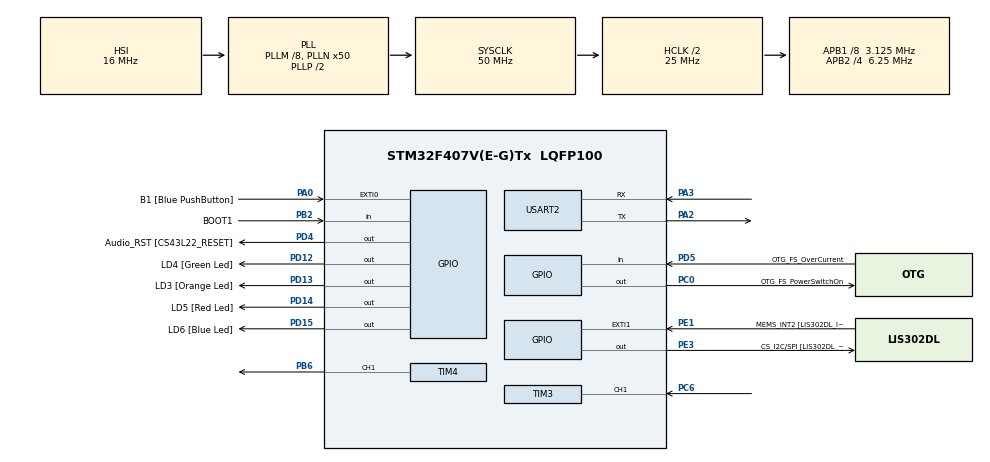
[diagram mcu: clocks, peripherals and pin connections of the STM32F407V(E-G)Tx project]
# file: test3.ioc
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Mcu.Family=STM32F4
Mcu.Name=STM32F407V(E-G)Tx
Mcu.Package=LQFP100
NVIC.PriorityGroup=NVIC_PRIORITYGROUP_0
NVIC.TIM3_IRQn=true\:0\:0\:false\:false\:true\:true
PA0-WKUP.GPIO_Label=B1 [Blue PushButton]
PA0-WKUP.GPIO_ModeDefaultEXTI=GPIO_MODE_EVT_RISING
PA0-WKUP.GPIO_PuPd=GPIO_NOPULL
PA0-WKUP.Signal=GPXTI0
PA10.GPIO_Label=OTG_FS_ID
PA10.GPIO_Mode=GPIO_MODE_AF_PP
PA10.GPIO_PuPd=GPIO_NOPULL
PA10.GPIO_Speed=GPIO_SPEED_FREQ_LOW
PA10.Signal=USB_OTG_FS_ID
PA11.GPIO_Label=OTG_FS_DM
PA11.GPIO_Mode=GPIO_MODE_AF_PP
PA11.GPIO_PuPd=GPIO_NOPULL
PA11.GPIO_Speed=GPIO_SPEED_FREQ_LOW
PA11.Signal=USB_OTG_FS_DM
PA12.GPIO_Label=OTG_FS_DP
PA12.GPIO_Mode=GPIO_MODE_AF_PP
PA12.GPIO_PuPd=GPIO_NOPULL
PA12.GPIO_Speed=GPIO_SPEED_FREQ_LOW
PA12.Signal=USB_OTG_FS_DP
PA13.GPIO_Label=SWDIO
PA13.Signal=SYS_JTMS-SWDIO
PA14.GPIO_Label=SWCLK
PA14.Signal=SYS_JTCK-SWCLK
PA2.Mode=Asynchronous
PA2.Signal=USART2_TX
PA3.Mode=Asynchronous
PA3.Signal=USART2_RX
PA4.GPIO_Label=I2S3_WS [CS43L22_LRCK]
PA4.GPIO_Mode=GPIO_MODE_AF_PP
PA4.GPIO_PuPd=GPIO_NOPULL
PA4.GPIO_Speed=GPIO_SPEED_FREQ_LOW
PA4.Signal=I2S3_WS
PA5.GPIO_Label=SPI1_SCK [LIS302DL_SCL/SPC]
PA5.GPIO_Mode=GPIO_MODE_AF_PP
PA5.GPIO_PuPd=GPIO_NOPULL
PA5.GPIO_Speed=GPIO_SPEED_FREQ_LOW
PA5.Signal=SPI1_SCK
PA6.GPIO_Label=SPI1_MISO [LIS302DL_SDO]
PA6.GPIO_Mode=GPIO_MODE_AF_PP
PA6.GPIO_PuPd=GPIO_NOPULL
PA6.GPIO_Speed=GPIO_SPEED_FREQ_LOW
PA6.Signal=SPI1_MISO
PA9.GPIO_Label=VBUS_FS
PA9.GPIO_Mode=GPIO_MODE_INPUT
PA9.GPIO_PuPd=GPIO_NOPULL
PA9.Signal=USB_OTG_FS_VBUS
PB10.GPIO_Label=CLK_IN [MP45DT02_CLK]
PB10.GPIO_Mode=GPIO_MODE_AF_PP
PB10.GPIO_PuPd=GPIO_NOPULL
PB10.GPIO_Speed=GPIO_SPEED_FREQ_LOW
PB10.Signal=I2S2_CK
PB2.GPIO_Label=BOOT1
PB2.GPIO_Mode=GPIO_MODE_INPUT
PB2.GPIO_PuPd=GPIO_NOPULL
PB2.Signal=GPIO_Input
PB3.GPIO_Label=SWO
PB3.Signal=SYS_JTDO-SWO
PB6.Signal=S_TIM4_CH1
PB9.GPIO_Label=Audio_SDA [CS43L22_SDA]
PB9.GPIO_Mode=GPIO_MODE_AF_OD
PB9.GPIO_PuPd=GPIO_NOPULL
PB9.GPIO_Speed=GPIO_SPEED_FREQ_LOW
PB9.Signal=I2C1_SDA
PC0.GPIO_Label=OTG_FS_PowerSwitchOn
PC0.GPIO_PuPd=GPIO_NOPULL
PC0.GPIO_Speed=GPIO_SPEED_FREQ_LOW
PC0.PinState=GPIO_PIN_SET
PC0.Signal=GPIO_Output
PC10.GPIO_Label=I2S3_SCK [CS43L22_SCLK]
PC10.GPIO_Mode=GPIO_MODE_AF_PP
PC10.GPIO_PuPd=GPIO_NOPULL
PC10.GPIO_Speed=GPIO_SPEED_FREQ_LOW
PC10.Signal=I2S3_CK
PC12.GPIO_Label=I2S3_SD [CS43L22_SDIN]
PC12.GPIO_Mode=GPIO_MODE_AF_PP
PC12.GPIO_PuPd=GPIO_NOPULL
PC12.GPIO_Speed=GPIO_SPEED_FREQ_LOW
PC12.Signal=I2S3_SD
PC14-OSC32_IN.GPIO_Label=PC14-OSC32_IN
PC14-OSC32_IN.Signal=RCC_OSC32_IN
PC15-OSC32_OUT.GPIO_Label=PC15-OSC32_OUT
PC15-OSC32_OUT.Signal=RCC_OSC32_OUT
PC3.GPIO_Label=PDM_OUT [MP45DT02_DOUT]
PC3.GPIO_Mode=GPIO_MODE_AF_PP
PC3.GPIO_PuPd=GPIO_NOPULL
PC3.GPIO_Speed=GPIO_SPEED_FREQ_LOW
PC3.Signal=I2S2_SD
PC6.GPIO_PuPd=GPIO_PULLUP
PC6.GPIO_Speed=GPIO_SPEED_FREQ_HIGH
PC6.Signal=S_TIM3_CH1
PC7.GPIO_Label=I2S3_MCK [CS43L22_MCLK]
PC7.GPIO_Mode=GPIO_MODE_AF_PP
PC7.GPIO_PuPd=GPIO_NOPULL
PC7.GPIO_Speed=GPIO_SPEED_FREQ_LOW
PC7.Signal=I2S3_MCK
PD12.GPIO_Label=LD4 [Green Led]
PD12.GPIO_PuPd=GPIO_NOPULL
PD12.GPIO_Speed=GPIO_SPEED_FREQ_LOW
PD12.Signal=GPIO_Output
PD13.GPIO_Label=LD3 [Orange Led]
PD13.GPIO_PuPd=GPIO_NOPULL
PD13.GPIO_Speed=GPIO_SPEED_FREQ_LOW
PD13.Signal=GPIO_Output
PD14.GPIO_Label=LD5 [Red Led]
PD14.GPIO_PuPd=GPIO_NOPULL
PD14.GPIO_Speed=GPIO_SPEED_FREQ_LOW
PD14.Signal=GPIO_Output
PD15.GPIO_Label=LD6 [Blue Led]
PD15.GPIO_PuPd=GPIO_NOPULL
PD15.GPIO_Speed=GPIO_SPEED_FREQ_LOW
PD15.Signal=GPIO_Output
PD4.GPIO_Label=Audio_RST [CS43L22_RESET]
PD4.GPIO_PuPd=GPIO_NOPULL
PD4.GPIO_Speed=GPIO_SPEED_FREQ_LOW
PD4.Signal=GPIO_Output
PD5.GPIO_Label=OTG_FS_OverCurrent
PD5.GPIO_Mode=GPIO_MODE_INPUT
PD5.GPIO_PuPd=GPIO_NOPULL
PD5.Signal=GPIO_Input
PE1.GPIO_Label=MEMS_INT2 [LIS302DL_INT2]
PE1.GPIO_ModeDefaultEXTI=GPIO_MODE_EVT_RISING
PE1.GPIO_PuPd=GPIO_NOPULL
PE1.Signal=GPXTI1
PE3.GPIO_Label=CS_I2C/SPI [LIS302DL_CS_I2C/SPI]
PE3.GPIO_PuPd=GPIO_NOPULL
PE3.GPIO_Speed=GPIO_SPEED_FREQ_LOW
PE3.Signal=GPIO_Output
PH0-OSC_IN.GPIO_Label=PH0-OSC_IN
PH0-OSC_IN.Signal=RCC_OSC_IN
PH1-OSC_OUT.GPIO_Label=PH1-OSC_OUT
PH1-OSC_OUT.Signal=RCC_OSC_OUT
ProjectManager.HeapSize=0x200
ProjectManager.StackSize=0x400
ProjectManager.TargetToolchain=SW4STM32
RCC.48MHZClocksFreq_Value=14285714.285714285
RCC.AHBCLKDivider=RCC_SYSCLK_DIV2
RCC.AHBFreq_Value=25000000
RCC.APB1CLKDivider=RCC_HCLK_DIV8
RCC.APB1Freq_Value=3125000
RCC.APB1TimFreq_Value=6250000
RCC.APB2CLKDivider=RCC_HCLK_DIV4
RCC.APB2Freq_Value=6250000
RCC.APB2TimFreq_Value=12500000
RCC.CortexFreq_Value=25000000
RCC.HCLKFreq_Value=25000000
RCC.HSE_VALUE=8000000
RCC.HSI_VALUE=16000000
RCC.LSE_VALUE=32768
RCC.PLLM=8
RCC.PLLN=50
RCC.PLLQ=7
RCC.SYSCLKFreq_VALUE=50000000
RCC.SYSCLKSource=RCC_SYSCLKSOURCE_PLLCLK
RCC.VCOOutputFreq_Value=100000000
SH.S_TIM3_CH1.0=TIM3_CH1,Input_Capture1_from_TI1
SH.S_TIM4_CH1.0=TIM4_CH1,PWM Generation1 CH1
TIM3.Channel-Input_Capture1_from_TI1=TIM_CHANNEL_1
TIM3.Period=0
TIM3.Prescaler=0
TIM4.Channel-PWM\ Generation1\ CH1=TIM_CHANNEL_1
TIM4.Period=62499
TIM4.Prescaler=1
USART2.VirtualMode=VM_ASYNC
board=STM32F4DISCOVERY

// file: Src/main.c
/**
  ******************************************************************************
  * File Name          : main.c
  * Description        : Main program body
  ******************************************************************************
  ** This notice applies to any and all portions of this file
  * that are not between comment pairs USER CODE BEGIN and
  * USER CODE END. Other portions of this file, whether
  * inserted by the user or by software development tools
  * are owned by their respective copyright owners.
  *
  * COPYRIGHT(c) 2017 STMicroelectronics
  *
  * Redistribution and use in source and binary forms, with or without modification,
  * are permitted provided that the following conditions are met:
  *   1. Redistributions of source code must retain the above copyright notice,
  *      this list of conditions and the following disclaimer.
  *   2. Redistributions in binary form must reproduce the above copyright notice,
  *      this list of conditions and the following disclaimer in the documentation
  *      and/or other materials provided with the distribution.
  *   3. Neither the name of STMicroelectronics nor the names of its contributors
  *      may be used to endorse or promote products derived from this software
  *      without specific prior written permission.
  *
  * THIS SOFTWARE IS PROVIDED BY THE COPYRIGHT HOLDERS AND CONTRIBUTORS "AS IS"
  * AND ANY EXPRESS OR IMPLIED WARRANTIES, INCLUDING, BUT NOT LIMITED TO, THE
  * IMPLIED WARRANTIES OF MERCHANTABILITY AND FITNESS FOR A PARTICULAR PURPOSE ARE
  * DISCLAIMED. IN NO EVENT SHALL THE COPYRIGHT HOLDER OR CONTRIBUTORS BE LIABLE
  * FOR ANY DIRECT, INDIRECT, INCIDENTAL, SPECIAL, EXEMPLARY, OR CONSEQUENTIAL
  * DAMAGES (INCLUDING, BUT NOT LIMITED TO, PROCUREMENT OF SUBSTITUTE GOODS OR
  * SERVICES; LOSS OF USE, DATA, OR PROFITS; OR BUSINESS INTERRUPTION) HOWEVER
  * CAUSED AND ON ANY THEORY OF LIABILITY, WHETHER IN CONTRACT, STRICT LIABILITY,
  * OR TORT (INCLUDING NEGLIGENCE OR OTHERWISE) ARISING IN ANY WAY OUT OF THE USE
  * OF THIS SOFTWARE, EVEN IF ADVISED OF THE POSSIBILITY OF SUCH DAMAGE.
  *
  ******************************************************************************
  */

#include "main.h"
#include "stm32f4xx_hal.h"

/* USER CODE BEGIN Includes */
#include "dht22.h"
/* USER CODE END Includes */

TIM_HandleTypeDef htim3;
TIM_HandleTypeDef htim4;

UART_HandleTypeDef huart2;

/* USER CODE BEGIN PV */
/* Private variables ---------------------------------------------------------*/
DHT22_HandleTypeDef dht;
int cun[1000];
/* USER CODE END PV */

void SystemClock_Config(void);
static void MX_GPIO_Init(void);
static void MX_TIM3_Init(void);
static void MX_USART2_UART_Init(void);
static void MX_TIM4_Init(void);

void HAL_TIM_MspPostInit(TIM_HandleTypeDef *htim);

/* USER CODE BEGIN PFP */
/* Private function prototypes -----------------------------------------------*/

/* USER CODE END PFP */

int main(void)
{

  /* MCU Configuration----------------------------------------------------------*/

  /* Reset of all peripherals, Initializes the Flash interface and the Systick. */
  HAL_Init();

  /* Configure the system clock */
  SystemClock_Config();

  /* USER CODE BEGIN SysInit */
  HAL_NVIC_SetPriorityGrouping(NVIC_PRIORITYGROUP_4);
  HAL_NVIC_SetPriority(SysTick_IRQn, 0, 1);
  /* USER CODE END SysInit */

  /* Initialize all configured peripherals */
  MX_GPIO_Init();
  MX_TIM3_Init();
  MX_USART2_UART_Init();
  MX_TIM4_Init();

  /* USER CODE BEGIN 2 */

  //ini
  char a[1024];
  char b[40];
  HAL_TIM_PWM_Start(&htim4, TIM_CHANNEL_1);
  dht.gpioPin = GPIO_PIN_6;
  dht.gpioPort = GPIOC;
  dht.timChannel = TIM_CHANNEL_1;
  dht.gpioAlternateFunction = GPIO_AF2_TIM3;
  dht.timHandle.Instance = TIM3;
  if(DHT22_Init(&dht)!=DHT22_OK){
  		// error occured
  		while(1);
  	}

  //set motor
  void user_pwm_setvalue(uint16_t value)
  {
      TIM_OC_InitTypeDef sConfigOC;
      value = value*650;
      sConfigOC.OCMode = TIM_OCMODE_PWM1;
      sConfigOC.Pulse = value;
      sConfigOC.OCPolarity = TIM_OCPOLARITY_HIGH;
      sConfigOC.OCFastMode = TIM_OCFAST_DISABLE;
      HAL_TIM_PWM_ConfigChannel(&htim4, &sConfigOC, TIM_CHANNEL_1);
      HAL_TIM_PWM_Start(&htim4, TIM_CHANNEL_1);
  }
  //int pwm = 0;
  int on = 0;
  int off = 0;
  /* USER CODE END 2 */

  /* Infinite loop */
  while (1)
  {

  /* USER CODE BEGIN 3 */

	  //Sensor
	  DHT22_ReadData(&dht);
	  int temp = dht.temp;
	  int humidity = dht.hum;
//	  if(temp > 10 ) HAL_GPIO_WritePin(GPIOD,GPIO_PIN_14,1);
//	  HAL_Delay(1000);
//	  HAL_GPIO_WritePin(GPIOD,GPIO_PIN_14,0);
//	  HAL_Delay(1000);
	  //int tem = temp*10;
	  //int humi = humidity*10;
	  for(int i = 0;i<40;i++){
		  if(cun[i]==0) b[i]='0';
		  else if(cun[i]==1) b[i]='1';
//		  else if(cun[i]==2) b[i]='2';
//		  else if(cun[i]==5) b[i]='5';
	  }
	  sprintf(a,"%d %d \n\r",humidity,temp);
	  //sprintf(a,"Book \n\r");
	  HAL_UART_Transmit(&huart2,a,strlen(a),1000);
	  //HAL_UART_Transmit(&huart2,b,strlen(b),1000);
	  HAL_Delay(1000);

	  //Motor
//	  	  	    HAL_Delay(2000);
//	  	  	  	  user_pwm_setvalue(1);
//	  	  	  	  HAL_Delay(2000);
//	  	  	  	  user_pwm_setvalue(11);

	  if(HAL_GPIO_ReadPin(GPIOB,GPIO_PIN_4)==1 && on == 0){
		  on = 1;
		  off = 0;
		  user_pwm_setvalue(1);
		  HAL_GPIO_WritePin(GPIOD,GPIO_PIN_13,1);
	  }
	  else if(HAL_GPIO_ReadPin(GPIOB,GPIO_PIN_5)==1 && off == 0){
		  on = 0;
		  off = 1;
		  user_pwm_setvalue(11);
		  HAL_GPIO_WritePin(GPIOD,GPIO_PIN_13,0);
	  }
  }
  /* USER CODE END 3 */

}

/** System Clock Configuration
*/
void SystemClock_Config(void)
{

  RCC_OscInitTypeDef RCC_OscInitStruct;
  RCC_ClkInitTypeDef RCC_ClkInitStruct;

    /**Configure the main internal regulator output voltage
    */
  __HAL_RCC_PWR_CLK_ENABLE();

  __HAL_PWR_VOLTAGESCALING_CONFIG(PWR_REGULATOR_VOLTAGE_SCALE1);

    /**Initializes the CPU, AHB and APB busses clocks
    */
  RCC_OscInitStruct.OscillatorType = RCC_OSCILLATORTYPE_HSI;
  RCC_OscInitStruct.HSIState = RCC_HSI_ON;
  RCC_OscInitStruct.HSICalibrationValue = 16;
  RCC_OscInitStruct.PLL.PLLState = RCC_PLL_ON;
  RCC_OscInitStruct.PLL.PLLSource = RCC_PLLSOURCE_HSI;
  RCC_OscInitStruct.PLL.PLLM = 8;
  RCC_OscInitStruct.PLL.PLLN = 50;
  RCC_OscInitStruct.PLL.PLLP = RCC_PLLP_DIV2;
  RCC_OscInitStruct.PLL.PLLQ = 7;
  if (HAL_RCC_OscConfig(&RCC_OscInitStruct) != HAL_OK)
  {
    _Error_Handler(__FILE__, __LINE__);
  }

    /**Initializes the CPU, AHB and APB busses clocks
    */
  RCC_ClkInitStruct.ClockType = RCC_CLOCKTYPE_HCLK|RCC_CLOCKTYPE_SYSCLK
                              |RCC_CLOCKTYPE_PCLK1|RCC_CLOCKTYPE_PCLK2;
  RCC_ClkInitStruct.SYSCLKSource = RCC_SYSCLKSOURCE_PLLCLK;
  RCC_ClkInitStruct.AHBCLKDivider = RCC_SYSCLK_DIV2;
  RCC_ClkInitStruct.APB1CLKDivider = RCC_HCLK_DIV8;
  RCC_ClkInitStruct.APB2CLKDivider = RCC_HCLK_DIV4;

  if (HAL_RCC_ClockConfig(&RCC_ClkInitStruct, FLASH_LATENCY_0) != HAL_OK)
  {
    _Error_Handler(__FILE__, __LINE__);
  }

    /**Configure the Systick interrupt time
    */
  HAL_SYSTICK_Config(HAL_RCC_GetHCLKFreq()/1000);

    /**Configure the Systick
    */
  HAL_SYSTICK_CLKSourceConfig(SYSTICK_CLKSOURCE_HCLK);

  /* SysTick_IRQn interrupt configuration */
  HAL_NVIC_SetPriority(SysTick_IRQn, 0, 0);
}

/* TIM3 init function */
static void MX_TIM3_Init(void)
{

  TIM_MasterConfigTypeDef sMasterConfig;
  TIM_IC_InitTypeDef sConfigIC;

  htim3.Instance = TIM3;
  htim3.Init.Prescaler = 0;
  htim3.Init.CounterMode = TIM_COUNTERMODE_UP;
  htim3.Init.Period = 0;
  htim3.Init.ClockDivision = TIM_CLOCKDIVISION_DIV1;
  if (HAL_TIM_IC_Init(&htim3) != HAL_OK)
  {
    _Error_Handler(__FILE__, __LINE__);
  }

  sMasterConfig.MasterOutputTrigger = TIM_TRGO_RESET;
  sMasterConfig.MasterSlaveMode = TIM_MASTERSLAVEMODE_DISABLE;
  if (HAL_TIMEx_MasterConfigSynchronization(&htim3, &sMasterConfig) != HAL_OK)
  {
    _Error_Handler(__FILE__, __LINE__);
  }

  sConfigIC.ICPolarity = TIM_INPUTCHANNELPOLARITY_RISING;
  sConfigIC.ICSelection = TIM_ICSELECTION_DIRECTTI;
  sConfigIC.ICPrescaler = TIM_ICPSC_DIV1;
  sConfigIC.ICFilter = 0;
  if (HAL_TIM_IC_ConfigChannel(&htim3, &sConfigIC, TIM_CHANNEL_1) != HAL_OK)
  {
    _Error_Handler(__FILE__, __LINE__);
  }

}

/* TIM4 init function */
static void MX_TIM4_Init(void)
{

  TIM_MasterConfigTypeDef sMasterConfig;
  TIM_OC_InitTypeDef sConfigOC;

  htim4.Instance = TIM4;
  htim4.Init.Prescaler = 1;
  htim4.Init.CounterMode = TIM_COUNTERMODE_UP;
  htim4.Init.Period = 62499;
  htim4.Init.ClockDivision = TIM_CLOCKDIVISION_DIV1;
  if (HAL_TIM_PWM_Init(&htim4) != HAL_OK)
  {
    _Error_Handler(__FILE__, __LINE__);
  }

  sMasterConfig.MasterOutputTrigger = TIM_TRGO_RESET;
  sMasterConfig.MasterSlaveMode = TIM_MASTERSLAVEMODE_DISABLE;
  if (HAL_TIMEx_MasterConfigSynchronization(&htim4, &sMasterConfig) != HAL_OK)
  {
    _Error_Handler(__FILE__, __LINE__);
  }

  sConfigOC.OCMode = TIM_OCMODE_PWM1;
  sConfigOC.Pulse = 0;
  sConfigOC.OCPolarity = TIM_OCPOLARITY_HIGH;
  sConfigOC.OCFastMode = TIM_OCFAST_DISABLE;
  if (HAL_TIM_PWM_ConfigChannel(&htim4, &sConfigOC, TIM_CHANNEL_1) != HAL_OK)
  {
    _Error_Handler(__FILE__, __LINE__);
  }

  HAL_TIM_MspPostInit(&htim4);

}

/* USART2 init function */
static void MX_USART2_UART_Init(void)
{

  huart2.Instance = USART2;
  huart2.Init.BaudRate = 115200;
  huart2.Init.WordLength = UART_WORDLENGTH_8B;
  huart2.Init.StopBits = UART_STOPBITS_1;
  huart2.Init.Parity = UART_PARITY_NONE;
  huart2.Init.Mode = UART_MODE_TX_RX;
  huart2.Init.HwFlowCtl = UART_HWCONTROL_NONE;
  huart2.Init.OverSampling = UART_OVERSAMPLING_16;
  if (HAL_UART_Init(&huart2) != HAL_OK)
  {
    _Error_Handler(__FILE__, __LINE__);
  }

}

/** Configure pins as
        * Analog
        * Input
        * Output
        * EVENT_OUT
        * EXTI
     PC3   ------> I2S2_SD
     PA4   ------> I2S3_WS
     PA5   ------> SPI1_SCK
     PA6   ------> SPI1_MISO
     PB10   ------> I2S2_CK
     PC7   ------> I2S3_MCK
     PA9   ------> USB_OTG_FS_VBUS
     PA10   ------> USB_OTG_FS_ID
     PA11   ------> USB_OTG_FS_DM
     PA12   ------> USB_OTG_FS_DP
     PC10   ------> I2S3_CK
     PC12   ------> I2S3_SD
     PB9   ------> I2C1_SDA
*/
static void MX_GPIO_Init(void)
{

  GPIO_InitTypeDef GPIO_InitStruct;

  /* GPIO Ports Clock Enable */
  __HAL_RCC_GPIOE_CLK_ENABLE();
  __HAL_RCC_GPIOC_CLK_ENABLE();
  __HAL_RCC_GPIOH_CLK_ENABLE();
  __HAL_RCC_GPIOA_CLK_ENABLE();
  __HAL_RCC_GPIOB_CLK_ENABLE();
  __HAL_RCC_GPIOD_CLK_ENABLE();

  /*Configure GPIO pin Output Level */
  HAL_GPIO_WritePin(CS_I2C_SPI_GPIO_Port, CS_I2C_SPI_Pin, GPIO_PIN_RESET);

  /*Configure GPIO pin Output Level */
  HAL_GPIO_WritePin(OTG_FS_PowerSwitchOn_GPIO_Port, OTG_FS_PowerSwitchOn_Pin, GPIO_PIN_SET);

  /*Configure GPIO pin Output Level */
  HAL_GPIO_WritePin(GPIOD, LD4_Pin|LD3_Pin|LD5_Pin|LD6_Pin
                          |Audio_RST_Pin, GPIO_PIN_RESET);

  /*Configure GPIO pin : CS_I2C_SPI_Pin */
  GPIO_InitStruct.Pin = CS_I2C_SPI_Pin;
  GPIO_InitStruct.Mode = GPIO_MODE_OUTPUT_PP;
  GPIO_InitStruct.Pull = GPIO_NOPULL;
  GPIO_InitStruct.Speed = GPIO_SPEED_FREQ_LOW;
  HAL_GPIO_Init(CS_I2C_SPI_GPIO_Port, &GPIO_InitStruct);

  /*Configure GPIO pin : OTG_FS_PowerSwitchOn_Pin */
  GPIO_InitStruct.Pin = OTG_FS_PowerSwitchOn_Pin;
  GPIO_InitStruct.Mode = GPIO_MODE_OUTPUT_PP;
  GPIO_InitStruct.Pull = GPIO_NOPULL;
  GPIO_InitStruct.Speed = GPIO_SPEED_FREQ_LOW;
  HAL_GPIO_Init(OTG_FS_PowerSwitchOn_GPIO_Port, &GPIO_InitStruct);

  /*Configure GPIO pin : PDM_OUT_Pin */
  GPIO_InitStruct.Pin = PDM_OUT_Pin;
  GPIO_InitStruct.Mode = GPIO_MODE_AF_PP;
  GPIO_InitStruct.Pull = GPIO_NOPULL;
  GPIO_InitStruct.Speed = GPIO_SPEED_FREQ_LOW;
  GPIO_InitStruct.Alternate = GPIO_AF5_SPI2;
  HAL_GPIO_Init(PDM_OUT_GPIO_Port, &GPIO_InitStruct);

  /*Configure GPIO pin : B1_Pin */
  GPIO_InitStruct.Pin = B1_Pin;
  GPIO_InitStruct.Mode = GPIO_MODE_EVT_RISING;
  GPIO_InitStruct.Pull = GPIO_NOPULL;
  HAL_GPIO_Init(B1_GPIO_Port, &GPIO_InitStruct);

  /*Configure GPIO pin : I2S3_WS_Pin */
  GPIO_InitStruct.Pin = I2S3_WS_Pin;
  GPIO_InitStruct.Mode = GPIO_MODE_AF_PP;
  GPIO_InitStruct.Pull = GPIO_NOPULL;
  GPIO_InitStruct.Speed = GPIO_SPEED_FREQ_LOW;
  GPIO_InitStruct.Alternate = GPIO_AF6_SPI3;
  HAL_GPIO_Init(I2S3_WS_GPIO_Port, &GPIO_InitStruct);

  /*Configure GPIO pins : SPI1_SCK_Pin SPI1_MISO_Pin */
  GPIO_InitStruct.Pin = SPI1_SCK_Pin|SPI1_MISO_Pin;
  GPIO_InitStruct.Mode = GPIO_MODE_AF_PP;
  GPIO_InitStruct.Pull = GPIO_NOPULL;
  GPIO_InitStruct.Speed = GPIO_SPEED_FREQ_LOW;
  GPIO_InitStruct.Alternate = GPIO_AF5_SPI1;
  HAL_GPIO_Init(GPIOA, &GPIO_InitStruct);

  /*Configure GPIO pin : BOOT1_Pin */
  GPIO_InitStruct.Pin = BOOT1_Pin;
  GPIO_InitStruct.Mode = GPIO_MODE_INPUT;
  GPIO_InitStruct.Pull = GPIO_NOPULL;
  HAL_GPIO_Init(BOOT1_GPIO_Port, &GPIO_InitStruct);

  /*Configure GPIO pin : CLK_IN_Pin */
  GPIO_InitStruct.Pin = CLK_IN_Pin;
  GPIO_InitStruct.Mode = GPIO_MODE_AF_PP;
  GPIO_InitStruct.Pull = GPIO_NOPULL;
  GPIO_InitStruct.Speed = GPIO_SPEED_FREQ_LOW;
  GPIO_InitStruct.Alternate = GPIO_AF5_SPI2;
  HAL_GPIO_Init(CLK_IN_GPIO_Port, &GPIO_InitStruct);

  /*Configure GPIO pins : LD4_Pin LD3_Pin LD5_Pin LD6_Pin
                           Audio_RST_Pin */
  GPIO_InitStruct.Pin = LD4_Pin|LD3_Pin|LD5_Pin|LD6_Pin
                          |Audio_RST_Pin;
  GPIO_InitStruct.Mode = GPIO_MODE_OUTPUT_PP;
  GPIO_InitStruct.Pull = GPIO_NOPULL;
  GPIO_InitStruct.Speed = GPIO_SPEED_FREQ_LOW;
  HAL_GPIO_Init(GPIOD, &GPIO_InitStruct);

  /*Configure GPIO pins : I2S3_MCK_Pin I2S3_SCK_Pin I2S3_SD_Pin */
  GPIO_InitStruct.Pin = I2S3_MCK_Pin|I2S3_SCK_Pin|I2S3_SD_Pin;
  GPIO_InitStruct.Mode = GPIO_MODE_AF_PP;
  GPIO_InitStruct.Pull = GPIO_NOPULL;
  GPIO_InitStruct.Speed = GPIO_SPEED_FREQ_LOW;
  GPIO_InitStruct.Alternate = GPIO_AF6_SPI3;
  HAL_GPIO_Init(GPIOC, &GPIO_InitStruct);

  /*Configure GPIO pin : VBUS_FS_Pin */
  GPIO_InitStruct.Pin = VBUS_FS_Pin;
  GPIO_InitStruct.Mode = GPIO_MODE_INPUT;
  GPIO_InitStruct.Pull = GPIO_NOPULL;
  HAL_GPIO_Init(VBUS_FS_GPIO_Port, &GPIO_InitStruct);

  /*Configure GPIO pins : OTG_FS_ID_Pin OTG_FS_DM_Pin OTG_FS_DP_Pin */
  GPIO_InitStruct.Pin = OTG_FS_ID_Pin|OTG_FS_DM_Pin|OTG_FS_DP_Pin;
  GPIO_InitStruct.Mode = GPIO_MODE_AF_PP;
  GPIO_InitStruct.Pull = GPIO_NOPULL;
  GPIO_InitStruct.Speed = GPIO_SPEED_FREQ_LOW;
  GPIO_InitStruct.Alternate = GPIO_AF10_OTG_FS;
  HAL_GPIO_Init(GPIOA, &GPIO_InitStruct);

  /*Configure GPIO pin : OTG_FS_OverCurrent_Pin */
  GPIO_InitStruct.Pin = OTG_FS_OverCurrent_Pin;
  GPIO_InitStruct.Mode = GPIO_MODE_INPUT;
  GPIO_InitStruct.Pull = GPIO_NOPULL;
  HAL_GPIO_Init(OTG_FS_OverCurrent_GPIO_Port, &GPIO_InitStruct);

  /*Configure GPIO pin : Audio_SDA_Pin */
  GPIO_InitStruct.Pin = Audio_SDA_Pin;
  GPIO_InitStruct.Mode = GPIO_MODE_AF_OD;
  GPIO_InitStruct.Pull = GPIO_PULLUP;
  GPIO_InitStruct.Speed = GPIO_SPEED_FREQ_LOW;
  GPIO_InitStruct.Alternate = GPIO_AF4_I2C1;
  HAL_GPIO_Init(Audio_SDA_GPIO_Port, &GPIO_InitStruct);

  /*Configure GPIO pin : MEMS_INT2_Pin */
  GPIO_InitStruct.Pin = MEMS_INT2_Pin;
  GPIO_InitStruct.Mode = GPIO_MODE_EVT_RISING;
  GPIO_InitStruct.Pull = GPIO_NOPULL;
  HAL_GPIO_Init(MEMS_INT2_GPIO_Port, &GPIO_InitStruct);

}

void _Error_Handler(char * file, int line)
{
  while(1)
  {
  }
}

/************************ (C) COPYRIGHT STMicroelectronics *****END OF FILE****/
